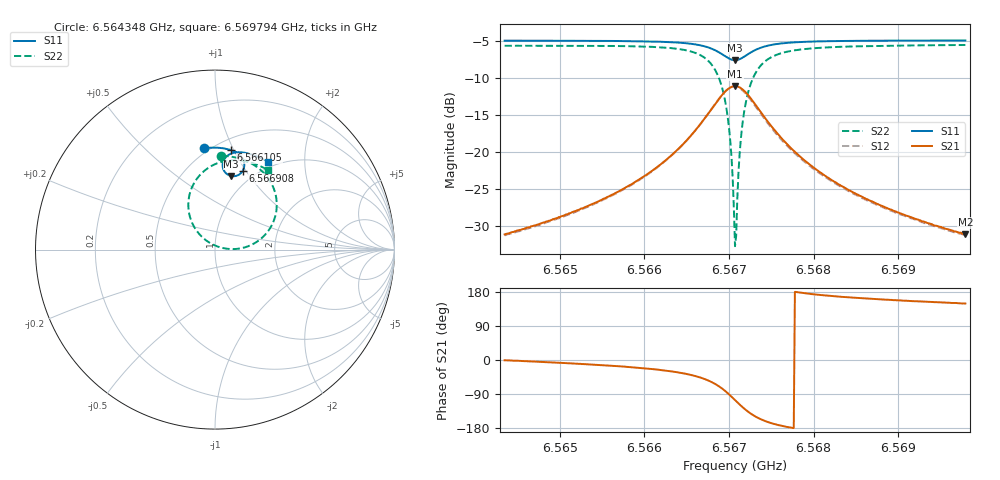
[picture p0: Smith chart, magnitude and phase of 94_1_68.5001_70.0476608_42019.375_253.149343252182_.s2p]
#  HZ  S  RI  R  50.00
! Rohde & Schwarz Vector Network Analyzer
! Rohde-Schwarz,ZNB20-2Port,1311601062101988,3.16
! Created: UTC 3/20/2024, 5:07:55 PM
! freq[Hz]  re:S11  im:S11  re:S21  im:S21  re:S12  im:S12  re:S22  im:S22
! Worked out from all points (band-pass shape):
!   401 points, 6.564348 GHz to 6.569794 GHz, reference 50 ohm
!   highest |S21| = -11.04 dB at 6.567071 GHz (marker M1); lowest = -31.1 dB at 6.569794 GHz (marker M2)
!   |S21| within 3 dB of the highest: 6.566801 GHz to 6.567343 GHz (542.8 kHz wide, 0.00827 % of centre)
!   lowest |S11| = -7.5 dB at 6.567071 GHz (marker M3), VSWR 2.45, Z = 41.3 + j41.1 ohm
!   |S11| at or under -10 dB: nowhere
!   |S22| runs from -32.7 to -5.5 dB; largest |S21 - S12| = 0.013
!   S11 on the Smith chart (normalised r, x): 6.564348 GHz: 0.47, +0.78; 6.566105 GHz: 0.60, +0.98; 6.566908 GHz: 0.86, +0.97; 6.569794 GHz: 0.92, +1.33
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6.5643485e9  -0.0635 0.5655  0.0279 -0.000321  0.0275 -0.000771  0.036 0.5242
6.5652606e9  0.011 0.5677  0.041 -0.00781  0.0403 -0.00821  0.1222 0.5109
6.5661046e9  0.0898 0.554  0.0693 -0.0312  0.0684 -0.0321  0.2317 0.4614
6.5661727e9  0.097 0.5514  0.073 -0.0355  0.0721 -0.0363  0.2434 0.4527
6.5666764e9  0.1552 0.5038  0.1077 -0.117  0.1053 -0.1193  0.3402 0.2938
6.5668125e9  0.1633 0.4698  0.1007 -0.1763  0.0963 -0.1795  0.3342 0.1807
6.5669078e9  0.1543 0.4384  0.0681 -0.2303  0.0606 -0.2333  0.2761 0.0795
6.5669622e9  0.1392 0.4214  0.0313 -0.2582  0.0214 -0.2597  0.2087 0.0292
6.5670031e9  0.1228 0.4123  -0.00546 -0.2717  -0.0167 -0.2711  0.1415 0.00672
6.5670303e9  0.1101 0.4092  -0.0331 -0.2751  -0.0447 -0.2725  0.0918 0.0027
6.5670575e9  0.0965 0.4091  -0.0617 -0.273  -0.0734 -0.2683  0.041 0.00926
6.5670711e9  0.0897 0.4101  -0.0758 -0.27  -0.0872 -0.2641  0.0163 0.0165
6.5670848e9  0.0832 0.4119  -0.0895 -0.2654  -0.1006 -0.2584  -0.00742 0.0262
6.5670984e9  0.0768 0.4145  -0.1027 -0.2595  -0.1131 -0.2517  -0.0298 0.0381
6.5671256e9  0.0655 0.4216  -0.1266 -0.2442  -0.1356 -0.2348  -0.0697 0.068
6.5671664e9  0.0525 0.4358  -0.1545 -0.215  -0.161 -0.2042  -0.1139 0.1228
6.5672209e9  0.0435 0.4575  -0.1759 -0.1719  -0.1788 -0.1608  -0.1441 0.2008
6.567289e9  0.0437 0.4828  -0.1818 -0.1225  -0.1815 -0.1127  -0.1456 0.2876
6.567534e9  0.081 0.5307  -0.1398 -0.0275  -0.1366 -0.0233  -0.0492 0.4469
6.5679832e9  0.1442 0.5423  -0.0798 0.0087  -0.0778 0.00989  0.0867 0.4975
6.5688953e9  0.2289 0.5211  -0.0386 0.015  -0.0376 0.0153  0.2169 0.4793
6.5697938e9  0.2949 0.4887  -0.0239 0.0143  -0.0235 0.0144  0.295 0.4428
